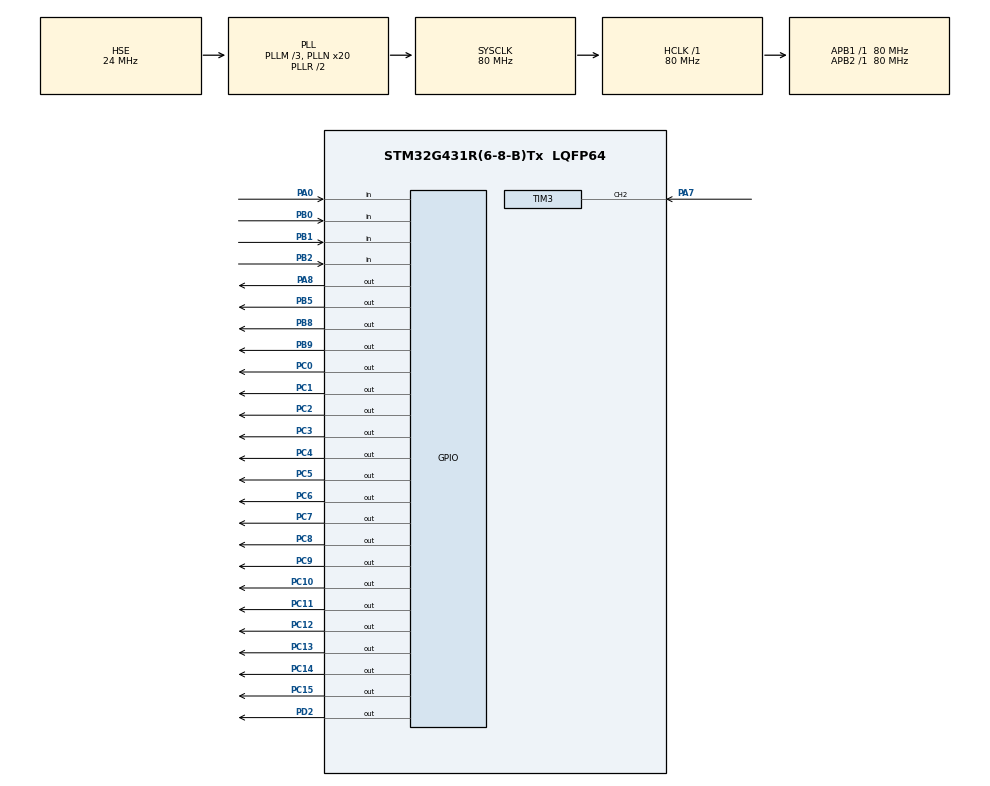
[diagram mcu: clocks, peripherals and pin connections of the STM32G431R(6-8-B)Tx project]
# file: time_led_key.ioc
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Mcu.Family=STM32G4
Mcu.Name=STM32G431R(6-8-B)Tx
Mcu.Package=LQFP64
NVIC.PriorityGroup=NVIC_PRIORITYGROUP_4
NVIC.TIM2_IRQn=true\:0\:0\:false\:false\:true\:true\:true\:true
NVIC.TIM3_IRQn=true\:0\:0\:false\:false\:true\:true\:true\:true
PA0.GPIO_PuPd=GPIO_PULLUP
PA0.Signal=GPIO_Input
PA7.Signal=S_TIM3_CH2
PA8.Signal=GPIO_Output
PB0.GPIO_PuPd=GPIO_PULLUP
PB0.Signal=GPIO_Input
PB1.GPIO_PuPd=GPIO_PULLUP
PB1.Signal=GPIO_Input
PB2.GPIO_PuPd=GPIO_PULLUP
PB2.Signal=GPIO_Input
PB5.Signal=GPIO_Output
PB8-BOOT0.Signal=GPIO_Output
PB9.Signal=GPIO_Output
PC0.Signal=GPIO_Output
PC1.Signal=GPIO_Output
PC10.PinState=GPIO_PIN_SET
PC10.Signal=GPIO_Output
PC11.PinState=GPIO_PIN_SET
PC11.Signal=GPIO_Output
PC12.PinState=GPIO_PIN_SET
PC12.Signal=GPIO_Output
PC13.PinState=GPIO_PIN_SET
PC13.Signal=GPIO_Output
PC14-OSC32_IN.PinState=GPIO_PIN_SET
PC14-OSC32_IN.Signal=GPIO_Output
PC15-OSC32_OUT.PinState=GPIO_PIN_SET
PC15-OSC32_OUT.Signal=GPIO_Output
PC2.Signal=GPIO_Output
PC3.Signal=GPIO_Output
PC4.Signal=GPIO_Output
PC5.Signal=GPIO_Output
PC6.Signal=GPIO_Output
PC7.Signal=GPIO_Output
PC8.PinState=GPIO_PIN_SET
PC8.Signal=GPIO_Output
PC9.PinState=GPIO_PIN_SET
PC9.Signal=GPIO_Output
PD2.Signal=GPIO_Output
PF0-OSC_IN.Mode=HSE-External-Oscillator
PF0-OSC_IN.Signal=RCC_OSC_IN
PF1-OSC_OUT.Mode=HSE-External-Oscillator
PF1-OSC_OUT.Signal=RCC_OSC_OUT
ProjectManager.HeapSize=0x200
ProjectManager.StackSize=0x400
ProjectManager.TargetToolchain=MDK-ARM V5.32
RCC.ADC12Freq_Value=80000000
RCC.AHBFreq_Value=80000000
RCC.APB1Freq_Value=80000000
RCC.APB1TimFreq_Value=80000000
RCC.APB2Freq_Value=80000000
RCC.APB2TimFreq_Value=80000000
RCC.CortexFreq_Value=80000000
RCC.EXTERNAL_CLOCK_VALUE=12288000
RCC.HCLKFreq_Value=80000000
RCC.HSE_VALUE=24000000
RCC.HSI48_VALUE=48000000
RCC.HSI_VALUE=16000000
RCC.LSE_VALUE=32768
RCC.PLLM=RCC_PLLM_DIV3
RCC.PLLN=20
RCC.PLLSourceVirtual=RCC_PLLSOURCE_HSE
RCC.SYSCLKFreq_VALUE=80000000
RCC.SYSCLKSource=RCC_SYSCLKSOURCE_PLLCLK
RCC.USBFreq_Value=80000000
RCC.VCOOutputFreq_Value=160000000
SH.S_TIM3_CH2.0=TIM3_CH2,Input_Capture2_from_TI2
TIM2.PeriodNoDither=10000-1
TIM2.Prescaler=80-1
TIM3.Channel-Input_Capture2_from_TI2=TIM_CHANNEL_2
TIM3.Prescaler=1-1
VP_SYS_VS_DBSignals.Mode=DisableDeadBatterySignals
VP_TIM2_VS_ClockSourceINT.Mode=Internal
VP_TIM3_VS_ClockSourceINT.Mode=Internal
board=custom

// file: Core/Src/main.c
/* USER CODE BEGIN Header */
/**
  ******************************************************************************
  * @file           : main.c
  * @brief          : Main program body
  ******************************************************************************
  * @attention
  *
  * Copyright (c) 2024 STMicroelectronics.
  * All rights reserved.
  *
  * This software is licensed under terms that can be found in the LICENSE file
  * in the root directory of this software component.
  * If no LICENSE file comes with this software, it is provided AS-IS.
  *
  ******************************************************************************
  */
/* USER CODE END Header */
#include "main.h"
#include "tim.h"
#include "gpio.h"

/* USER CODE BEGIN Includes */

#include "led.h"
#include "timer.h"
#include "lcd.h"
#include "stdio.h"
#include "String.h"

/* USER CODE END Includes */

void SystemClock_Config(void);
/* USER CODE BEGIN PFP */
void key_proc(void);
void lcd_proc(void);

/* USER CODE END PFP */

/* USER CODE BEGIN 0 */
__IO uint32_t uwTick_lcd;

/* USER CODE END 0 */

int main(void)
{

  /* MCU Configuration--------------------------------------------------------*/

  /* Reset of all peripherals, Initializes the Flash interface and the Systick. */
  HAL_Init();

  /* Configure the system clock */
  SystemClock_Config();

  /* Initialize all configured peripherals */
  MX_GPIO_Init();
  MX_TIM2_Init();
  MX_TIM3_Init();
  /* USER CODE BEGIN 2 */
    HAL_TIM_Base_Start_IT(&htim2);

    led_disp(0x00);
    LCD_Init();
    LCD_Clear(White);
    LCD_SetBackColor(White);
    LCD_SetTextColor(Blue2);
  /* USER CODE END 2 */

  /* Infinite loop */
  while (1)
  {

    /* USER CODE BEGIN 3 */
      lcd_proc();
  }
  /* USER CODE END 3 */
}

void SystemClock_Config(void)
{
  RCC_OscInitTypeDef RCC_OscInitStruct = {0};
  RCC_ClkInitTypeDef RCC_ClkInitStruct = {0};

  /** Configure the main internal regulator output voltage
  */
  HAL_PWREx_ControlVoltageScaling(PWR_REGULATOR_VOLTAGE_SCALE1);

  /** Initializes the RCC Oscillators according to the specified parameters
  * in the RCC_OscInitTypeDef structure.
  */
  RCC_OscInitStruct.OscillatorType = RCC_OSCILLATORTYPE_HSE;
  RCC_OscInitStruct.HSEState = RCC_HSE_ON;
  RCC_OscInitStruct.PLL.PLLState = RCC_PLL_ON;
  RCC_OscInitStruct.PLL.PLLSource = RCC_PLLSOURCE_HSE;
  RCC_OscInitStruct.PLL.PLLM = RCC_PLLM_DIV3;
  RCC_OscInitStruct.PLL.PLLN = 20;
  RCC_OscInitStruct.PLL.PLLP = RCC_PLLP_DIV2;
  RCC_OscInitStruct.PLL.PLLQ = RCC_PLLQ_DIV2;
  RCC_OscInitStruct.PLL.PLLR = RCC_PLLR_DIV2;
  if (HAL_RCC_OscConfig(&RCC_OscInitStruct) != HAL_OK)
  {
    Error_Handler();
  }

  /** Initializes the CPU, AHB and APB buses clocks
  */
  RCC_ClkInitStruct.ClockType = RCC_CLOCKTYPE_HCLK|RCC_CLOCKTYPE_SYSCLK
                              |RCC_CLOCKTYPE_PCLK1|RCC_CLOCKTYPE_PCLK2;
  RCC_ClkInitStruct.SYSCLKSource = RCC_SYSCLKSOURCE_PLLCLK;
  RCC_ClkInitStruct.AHBCLKDivider = RCC_SYSCLK_DIV1;
  RCC_ClkInitStruct.APB1CLKDivider = RCC_HCLK_DIV1;
  RCC_ClkInitStruct.APB2CLKDivider = RCC_HCLK_DIV1;

  if (HAL_RCC_ClockConfig(&RCC_ClkInitStruct, FLASH_LATENCY_2) != HAL_OK)
  {
    Error_Handler();
  }
}

/* USER CODE BEGIN 4 */

void key_proc(void)
{
    unsigned char txt[30];
    if(key[0].single_flag==1)
    {
      //led_disp(0x01);
     // HAL_Delay(500);//延时500ms
     // led_disp(0x00);
     // HAL_Delay(500);//延时500ms
        led_disp(0xaa);
        sprintf((char *)txt,"%s","key0down");
        LCD_DisplayStringLine(Line7,txt);
        key[0].single_flag =0;
    }
}

void lcd_proc(void)
{
    if((uwTick-uwTick_lcd)<100)return;
    uwTick_lcd=uwTick;
    unsigned char txt[30];
    memset((char *)txt,0,sizeof(txt));
    sprintf((char *)txt,"V=%0.1f",V);
    LCD_DisplayStringLine(Line1,txt);

        memset((char *)txt,0,sizeof(txt));
    sprintf((char *)txt,"R=%d",R);
    LCD_DisplayStringLine(Line3,txt);

        memset((char *)txt,0,sizeof(txt));
    sprintf((char *)txt,"K=%d",K);
    LCD_DisplayStringLine(Line5,txt);

        memset((char *)txt,0,sizeof(txt));
    sprintf((char *)txt,"frq=%05d",pa7_frq);
    LCD_DisplayStringLine(Line7,txt);
}

/* USER CODE END 4 */

void Error_Handler(void)
{
  __disable_irq();
  while (1)
  {
  }
}
